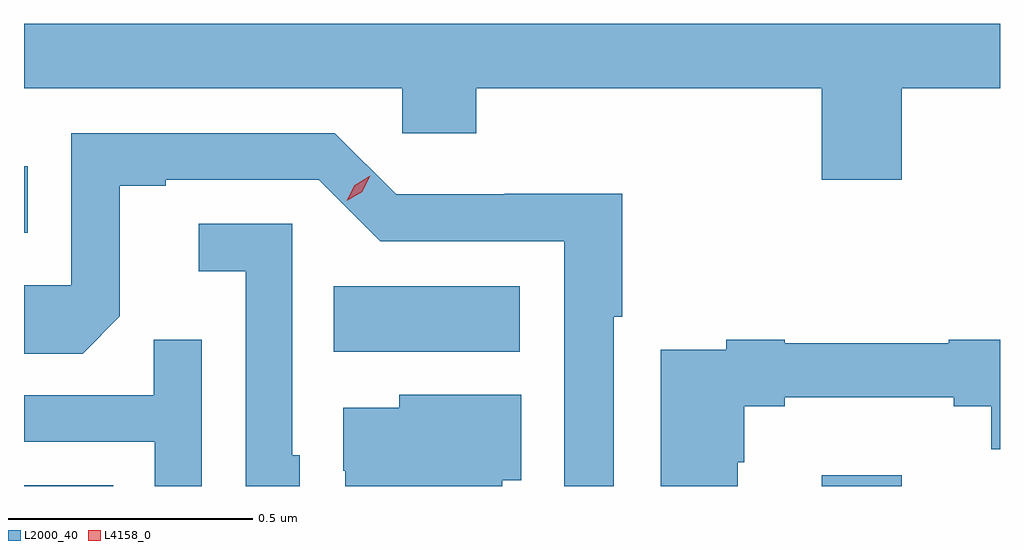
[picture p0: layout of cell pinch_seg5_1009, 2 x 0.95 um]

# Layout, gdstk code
import gdstk
lib = gdstk.Library(unit=1e-6, precision=1e-09)
def R(c, l, rs):  # rectangles x0, y0, x1, y1
    for r in rs: c.add(gdstk.rectangle(r[:2], r[2:], *l))
def P(c, l, *ps):  # polygons
    for p in ps: c.add(gdstk.Polygon(p, *l))
L2000_40 = (2000, 40)
L4158_0 = (4158, 0)

pinch_seg5_1009 = lib.new_cell('pinch_seg5_1009')
R(pinch_seg5_1009, L2000_40, [(738.797,914.552,738.98,914.554), (740.432,914.552,740.596,914.575), (739.432,914.828,739.813,914.962), (738.797,915.072,738.805,915.208)])
P(pinch_seg5_1009, L2000_40, [(740.596,915.368),(740.797,915.368),(740.797,915.5),(738.797,915.5),(738.797,915.368),(739.572,915.368),(739.572,915.275),(739.724,915.275),(739.724,915.368),(740.432,915.368),(740.432,915.18),(740.596,915.18)],
  [(740.005,914.899),(740.023,914.899),(740.023,915.152),(739.782,915.152),(739.782,915.15),(739.56,915.15),(739.434,915.276),(738.894,915.276),(738.894,914.964),(738.797,914.964),(738.797,914.824),(738.917,914.824),(738.993,914.9),(738.993,915.168),(739.087,915.168),(739.087,915.18),(739.401,915.18),(739.527,915.054),(739.904,915.054),(739.904,914.552),(740.005,914.552)],
  [(739.362,914.616),(739.347,914.616),(739.347,915.09),(739.155,915.09),(739.155,914.993),(739.251,914.993),(739.251,914.552),(739.362,914.552)],
  [(739.161,914.852),(739.063,914.852),(739.063,914.739),(738.797,914.739),(738.797,914.643),(739.065,914.643),(739.065,914.552),(739.161,914.552)],
  [(740.26,914.601),(740.273,914.601),(740.273,914.716),(740.356,914.716),(740.356,914.735),(740.702,914.735),(740.702,914.716),(740.779,914.716),(740.779,914.628),(740.797,914.628),(740.797,914.852),(740.692,914.852),(740.692,914.845),(740.356,914.845),(740.356,914.852),(740.236,914.852),(740.236,914.832),(740.102,914.832),(740.102,914.552),(740.26,914.552)],
  [(739.777,914.564),(739.816,914.564),(739.816,914.74),(739.566,914.74),(739.566,914.713),(739.451,914.713),(739.451,914.584),(739.455,914.584),(739.455,914.552),(739.777,914.552)])
P(pinch_seg5_1009, L4158_0, [(739.458,915.137),(739.458,915.137),(739.475,915.169),(739.507,915.188),(739.507,915.188),(739.507,915.188),(739.49,915.156),(739.458,915.137)])

lib.write_gds('pinch_seg5_1009.gds')
